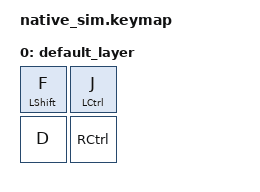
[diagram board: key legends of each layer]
#include <dt-bindings/zmk/keys.h>
#include <behaviors.dtsi>
#include <dt-bindings/zmk/input_mock.h>

/*
* A hold-tap with long tapping term is pressed first.
* A hold-tap with short tapping term is quickly tapped.
* The short tapping term hold-tap should 'tap', not 'hold'.
*/

/ {
    behaviors {
        tp_short: short_tap {
            compatible = "zmk,behavior-hold-tap";
            #binding-cells = <2>;
            flavor = "tap-preferred";
            tapping-term-ms = <100>;
            quick-tap-ms = <200>;
            bindings = <&kp>, <&kp>;
        };
        tp_long: long_tap {
            compatible = "zmk,behavior-hold-tap";
            #binding-cells = <2>;
            flavor = "tap-preferred";
            tapping-term-ms = <200>;
            quick-tap-ms = <200>;
            bindings = <&kp>, <&kp>;
        };
    };

    keymap {
        compatible = "zmk,keymap";

        default_layer {
            bindings = <
                &tp_long LEFT_SHIFT F &tp_short LEFT_CONTROL J
                &kp D &kp RIGHT_CONTROL>;
        };
    };
};


&mock_input {
    events = <
        ZMK_INPUT_MOCK_PRESS(0,0,20)
        ZMK_INPUT_MOCK_PRESS(0,1,20)
        ZMK_INPUT_MOCK_RELEASE(0,1,200)
        ZMK_INPUT_MOCK_RELEASE(0,0,10)
    >;
};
